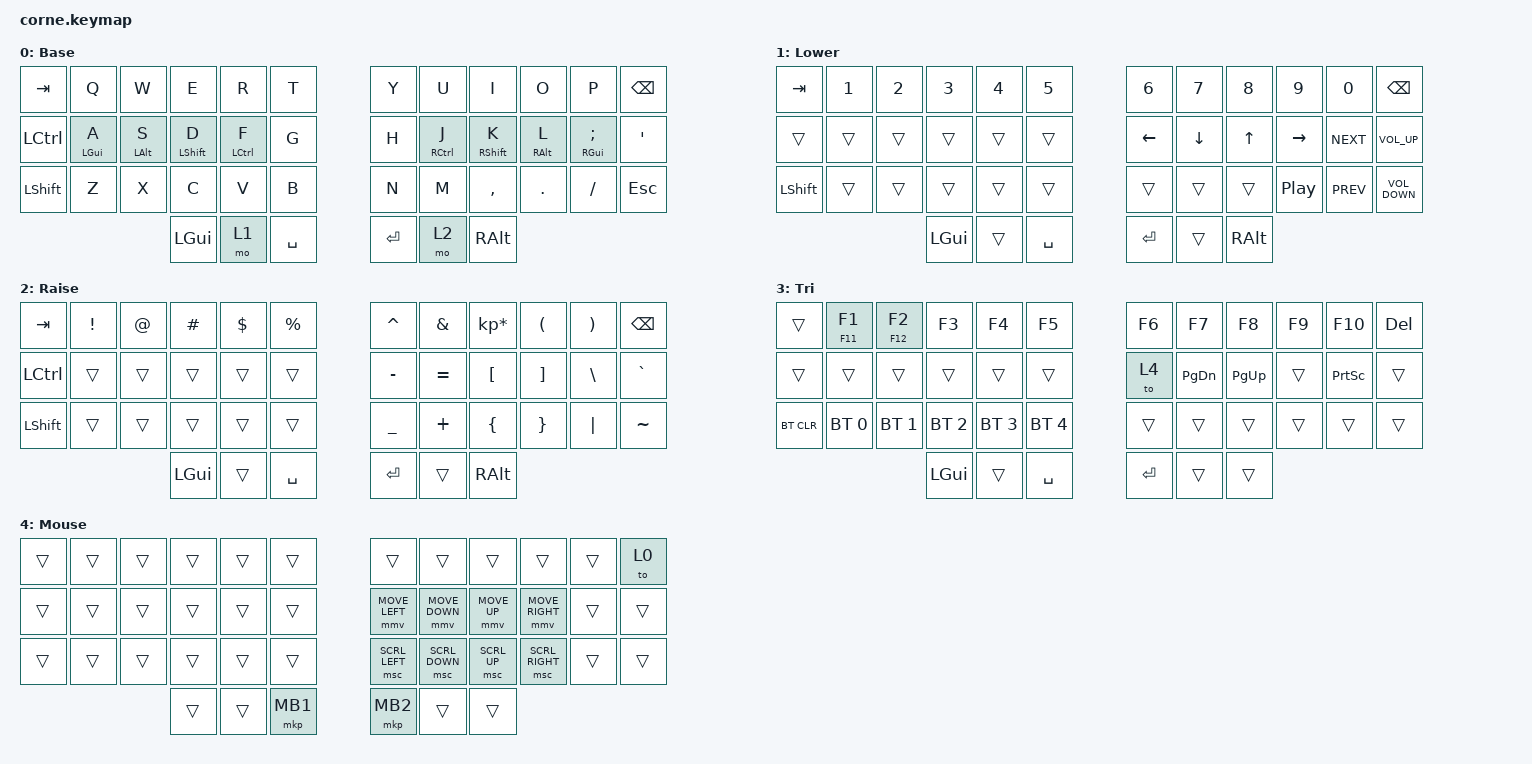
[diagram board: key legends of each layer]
/*
 * Copyright (c) 2020 The ZMK Contributors
 *
 * SPDX-License-Identifier: MIT
 */

#include <behaviors.dtsi>
#include <dt-bindings/zmk/bt.h>
#include <dt-bindings/zmk/keys.h>
#include <dt-bindings/zmk/pointing.h>

/ {
    combos {
        compatible = "zmk,combos";

        sleep {
            bindings = <&kp C_SLEEP>;
            key-positions = <0 11>;
        };
    };

    behaviors {
        hml: hml {
            compatible = "zmk,behavior-hold-tap";
            label = "HML";
            bindings = <&kp>, <&kp>;

            #binding-cells = <2>;
            tapping-term-ms = <280>;
            quick-tap-ms = <175>;
            flavor = "balanced";
            hold-trigger-on-release;
            hold-trigger-key-positions = <36 37 38 39 40 41 6 7 8 9 10 11 18 19 20 21 22 23 30 31 32 33 34 35>;
        };

        hmr: hmr {
            compatible = "zmk,behavior-hold-tap";
            label = "HMR";
            bindings = <&kp>, <&kp>;

            #binding-cells = <2>;
            tapping-term-ms = <280>;
            quick-tap-ms = <175>;
            flavor = "balanced";
            hold-trigger-on-release;
            hold-trigger-key-positions = <39 40 41 0 1 2 3 4 5 12 13 14 15 16 17 24 25 26 27 28 29 36 37 38>;
        };
    };

    keymap {
        compatible = "zmk,keymap";

        default_layer {
            // -----------------------------------------------------------------------------------------
            // |  TAB |  Q  |  W  |  E  |  R  |  T  |   |  Y  |  U   |  I  |  O  |  P  | BKSP |
            // | CTRL |  A  |  S  |  D  |  F  |  G  |   |  H  |  J   |  K  |  L  |  ;  |  '   |
            // | SHFT |  Z  |  X  |  C  |  V  |  B  |   |  N  |  M   |  ,  |  .  |  /  | ESC  |
            //                    | GUI | LWR | SPC |   | ENT | RSE  | ALT |

            display-name = "Base";
            bindings = <
&kp TAB    &kp Q            &kp W            &kp E              &kp R                &kp T        &kp Y    &kp U                 &kp I          &kp O             &kp P                     &kp BSPC
&kp LCTRL  &hml LEFT_GUI A  &hml LEFT_ALT S  &hml LEFT_SHIFT D  &hml LEFT_CONTROL F  &kp G        &kp H    &hmr RIGHT_CONTROL J  &hmr RSHIFT K  &hmr RIGHT_ALT L  &hmr RIGHT_GUI SEMICOLON  &kp SQT
&kp LSHFT  &kp Z            &kp X            &kp C              &kp V                &kp B        &kp N    &kp M                 &kp COMMA      &kp DOT           &kp FSLH                  &kp ESC
                                             &kp LGUI           &mo 1                &kp SPACE    &kp RET  &mo 2                 &kp RALT
            >;
        };

        lower_layer {
            // -----------------------------------------------------------------------------------------
            // |  TAB |  1  |  2  |  3  |  4  |  5  |   |  6  |  7  |  8  |  9  |  0  | BKSP |
            // | BTCLR| BT1 | BT2 | BT3 | BT4 | BT5 |   | LFT | DWN |  UP | RGT |     |      |
            // | SHFT |     |     |     |     |     |   |     |     |     |     |     |      |
            //                    | GUI |     | SPC |   | ENT |     | ALT |

            display-name = "Lower";
            bindings = <
&kp TAB    &kp N1  &kp N2  &kp N3    &kp N4  &kp N5       &kp N6    &kp N7    &kp N8    &kp N9            &kp N0      &kp BSPC
&trans     &trans  &trans  &trans    &trans  &trans       &kp LEFT  &kp DOWN  &kp UP    &kp RIGHT         &kp C_NEXT  &kp C_VOLUME_UP
&kp LSHFT  &trans  &trans  &trans    &trans  &trans       &trans    &trans    &trans    &kp C_PLAY_PAUSE  &kp C_PREV  &kp C_VOLUME_DOWN
                           &kp LGUI  &trans  &kp SPACE    &kp RET   &trans    &kp RALT
            >;
        };

        raise_layer {
            // -----------------------------------------------------------------------------------------
            // |  TAB |  !  |  @  |  #  |  $  |  %  |   |  ^  |  &  |  *  |  (  |  )  | BKSP |
            // | CTRL |     |     |     |     |     |   |  -  |  =  |  [  |  ]  |  \  |  `   |
            // | SHFT |     |     |     |     |     |   |  _  |  +  |  {  |  }  | "|" |  ~   |
            //                    | GUI |     | SPC |   | ENT |     | ALT |

            display-name = "Raise";
            bindings = <
&kp TAB    &kp EXCL  &kp AT  &kp HASH  &kp DLLR  &kp PRCNT    &kp CARET  &kp AMPS   &kp KP_MULTIPLY  &kp LPAR  &kp RPAR  &kp BSPC
&kp LCTRL  &trans    &trans  &trans    &trans    &trans       &kp MINUS  &kp EQUAL  &kp LBKT         &kp RBKT  &kp BSLH  &kp GRAVE
&kp LSHFT  &trans    &trans  &trans    &trans    &trans       &kp UNDER  &kp PLUS   &kp LBRC         &kp RBRC  &kp PIPE  &kp TILDE
                             &kp LGUI  &trans    &kp SPACE    &kp RET    &trans     &kp RALT
            >;
        };

        adjust_layer {
            display-name = "Tri";
            bindings = <
&trans      &mt F11 F1    &mt F12 F2    &kp F3        &kp F4        &kp F5          &kp F6   &kp F7         &kp F8       &kp F9  &kp F10          &kp DEL
&trans      &trans        &trans        &trans        &trans        &trans          &to 4    &kp PAGE_DOWN  &kp PAGE_UP  &trans  &kp PRINTSCREEN  &trans
&bt BT_CLR  &bt BT_SEL 0  &bt BT_SEL 1  &bt BT_SEL 2  &bt BT_SEL 3  &bt BT_SEL 4    &trans   &trans         &trans       &trans  &trans           &trans
                                        &kp LGUI      &trans        &kp SPACE       &kp RET  &trans         &trans
            >;
        };

        mouse_layer {
            display-name = "Mouse";
            bindings = <
&trans  &trans  &trans  &trans  &trans  &trans      &trans          &trans          &trans        &trans           &trans  &to 0
&trans  &trans  &trans  &trans  &trans  &trans      &mmv MOVE_LEFT  &mmv MOVE_DOWN  &mmv MOVE_UP  &mmv MOVE_RIGHT  &trans  &trans
&trans  &trans  &trans  &trans  &trans  &trans      &msc SCRL_LEFT  &msc SCRL_DOWN  &msc SCRL_UP  &msc SCRL_RIGHT  &trans  &trans
                        &trans  &trans  &mkp MB1    &mkp MB2        &trans          &trans
            >;
        };

        extra_1 { status = "reserved"; };

        extra_2 { status = "reserved"; };

        extra_3 { status = "reserved"; };
    };

    conditional_layers {
        compatible = "zmk,conditional-layers";

        tri {
            if-layers = <1 2>;
            then-layer = <3>;
        };
    };
};
